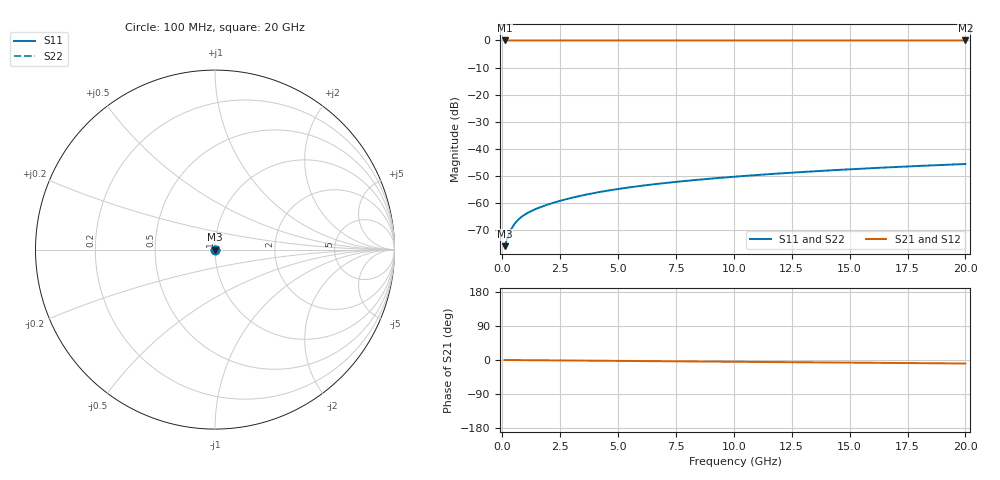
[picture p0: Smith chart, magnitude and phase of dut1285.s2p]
! Touchstone file exported from HFSS 2026.1.0
!  File:  C:/ffzhzh/LocalFiles/Ansys_Project_Files/temp_train_TSV_1285_1783194425_43440.aedt
!  Generated:  03:48:32 AM Jul  5, 2026
!  Design:  TSV
!  Project:  temp_train_TSV_1285_1783194425_43440
! Variables:
!  h_bsmrdl = 2um
!  h_ox = 20um
!  h_rdl = 5um
!  h_sub = 94.79um
!  h_tmrdl = 5um
!  h_tsv = 94.79um
!  h_via = 3um
!  l_bsmrdl = 300um
!  l_sub = 420.34um
!  l_tmrdl = 200um
!  m_sub = 200um
!  pitch = 42.77um
!  r_tsv = 10.17um
!  s_tmrdl = 10um
!  w_bsmrdl = 18um
!  w_sub = 500um
!  w_tmrdl = 12um
!  x_tsv_center1 = 206um
!  x_tsv_center2 = 524um
!  x_tsv_center3 = 736um
!  x_tsv_center4 = 1054um
!  x_tsv_center5 = 1266um
!  x_tsv_center6 = 1584um
# GHz S MA R 50.000000
! Terminal data exported
! Port[1] = TSV1_1_T1
! Port[2] = TSV1_1_T2
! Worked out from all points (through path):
!   200 points, 100 MHz to 20 GHz, reference 50 ohm
!   highest |S21| = 0.00 dB at 100 MHz (marker M1); lowest = 0.0 dB at 20 GHz (marker M2)
!   group delay of S21, straight-line fit = 1.28 ps
!   lowest |S11| = -75.9 dB at 100 MHz (marker M3), VSWR 1.00, Z = 50 + j0.00749 ohm
!   |S11| at or under -10 dB: start of sweep to end of sweep
!   |S22| runs from -75.9 to -45.6 dB; largest |S21 - S12| = 3e-15
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0.1  0.0001606 27.8  0.9999 -0.0  0.9999 -0.0  0.0001606 27.8
! Gamma 0 0 0 0
! Port Impedance 50 0 50 0
0.2  0.0002141 43.2  0.9998 -0.1  0.9998 -0.1  0.0002141 43.2
0.3  0.0002766 50.2  0.9998 -0.1  0.9998 -0.1  0.0002766 50.2
0.4  0.0003387 53.3  0.9998 -0.2  0.9998 -0.2  0.0003387 53.3
0.5  0.0003969 54.6  0.9998 -0.2  0.9998 -0.2  0.0003969 54.6
0.6  0.0004505 55.2  0.9997 -0.3  0.9997 -0.3  0.0004504 55.2
0.7  0.0004993 55.4  0.9997 -0.3  0.9997 -0.3  0.0004993 55.4
0.8  0.0005441 55.6  0.9997 -0.4  0.9997 -0.4  0.0005441 55.6
1  0.0006242 55.8  0.9997 -0.5  0.9997 -0.5  0.0006242 55.8
1.4  0.0007626 56.9  0.9996 -0.7  0.9996 -0.7  0.0007626 56.9
2  0.0009508 58.9  0.9995 -0.9  0.9995 -0.9  0.0009508 58.9
2.7  0.001163 61.0  0.9995 -1.3  0.9995 -1.3  0.001163 61.0
3.5  0.0014 62.5  0.9994 -1.6  0.9994 -1.6  0.0014 62.5
4.2  0.0016 63.3  0.9993 -2.0  0.9993 -2.0  0.0016 63.3
5  0.001821 63.9  0.9993 -2.3  0.9993 -2.3  0.001821 63.9
5.9  0.002059 64.4  0.9992 -2.7  0.9992 -2.7  0.002059 64.4
6.8  0.002289 64.7  0.9991 -3.2  0.9991 -3.2  0.002289 64.7
8.3  0.002659 65.1  0.999 -3.9  0.999 -3.9  0.00266 65.1
10.1  0.003088 65.4  0.9989 -4.7  0.9989 -4.7  0.003089 65.4
13.4  0.003847 65.5  0.9988 -6.2  0.9988 -6.2  0.003847 65.5
16.7  0.004574 65.1  0.9986 -7.7  0.9986 -7.7  0.004574 65.1
20  0.005264 64.4  0.9985 -9.2  0.9985 -9.2  0.005264 64.4
